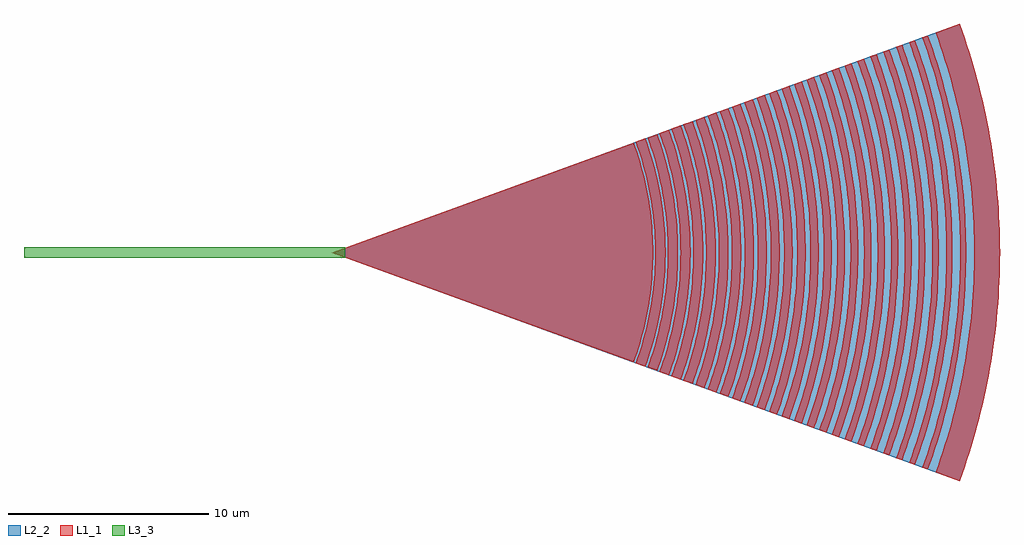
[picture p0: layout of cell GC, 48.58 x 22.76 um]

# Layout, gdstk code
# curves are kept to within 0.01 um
import gdstk
lib = gdstk.Library(unit=1e-6, precision=1e-09)
def R(c, l, rs):  # rectangles x0, y0, x1, y1
    for r in rs: c.add(gdstk.rectangle(r[:2], r[2:], *l))
def P(c, l, *ps):  # polygons
    for p in ps: c.add(gdstk.Polygon(p, *l))
L1_1 = (1, 1)
L2_2 = (2, 2)
L3_3 = (3, 3)

c_gc = lib.new_cell('GC')
P(c_gc, L1_1, [(3.313,0),(18.348,-5.472),(18.592,-4.751),(18.735,-4.264),(18.92,-3.525),(19.024,-3.028),(19.15,-2.277),(19.215,-1.773),(19.281,-1.015),(19.311,-0.254),(19.305,0.508),(19.281,1.015),(19.215,1.773),(19.112,2.528),(19.024,3.028),(18.92,3.525),(18.735,4.264),(18.592,4.751),(18.348,5.472)],
  [(18.929,-5.684),(19.177,-4.951),(19.323,-4.457),(19.513,-3.707),(19.668,-2.949),(19.787,-2.185),(19.871,-1.416),(19.907,-0.902),(19.931,-0.129),(19.927,0.387),(19.891,1.159),(19.819,1.929),(19.712,2.695),(19.568,3.455),(19.39,4.208),(19.177,4.951),(18.929,5.684),(18.446,5.508),(18.691,4.782),(18.835,4.291),(19.021,3.548),(19.172,2.796),(19.253,2.292),(19.344,1.531),(19.399,0.766),(19.417,0),(19.399,-0.766),(19.344,-1.531),(19.253,-2.292),(19.172,-2.796),(19.021,-3.548),(18.835,-4.291),(18.691,-4.782),(18.446,-5.508)],
  [(19.513,-5.896),(19.764,-5.153),(19.982,-4.399),(20.165,-3.635),(20.313,-2.865),(20.426,-2.088),(20.503,-1.307),(20.545,-0.523),(20.552,0),(20.545,0.523),(20.503,1.307),(20.426,2.088),(20.313,2.865),(20.165,3.635),(19.982,4.399),(19.764,5.153),(19.513,5.896),(19.037,5.723),(19.287,4.985),(19.501,4.237),(19.625,3.733),(19.781,2.97),(19.901,2.2),(19.986,1.426),(20.034,0.649),(20.046,0.13),(20.034,-0.649),(19.986,-1.426),(19.901,-2.2),(19.781,-2.97),(19.625,-3.733),(19.501,-4.237),(19.287,-4.985),(19.037,-5.723)],
  [(20.099,-6.109),(20.273,-5.608),(20.506,-4.847),(20.704,-4.076),(20.869,-3.298),(20.998,-2.512),(21.093,-1.722),(21.152,-0.928),(21.175,-0.133),(21.163,0.663),(21.116,1.458),(21.034,2.249),(20.916,3.036),(20.763,3.818),(20.576,4.591),(20.354,5.356),(20.099,6.109),(19.631,5.939),(19.885,5.19),(20.104,4.431),(20.288,3.662),(20.437,2.886),(20.551,2.103),(20.628,1.316),(20.67,0.527),(20.678,0),(20.67,-0.527),(20.628,-1.316),(20.551,-2.103),(20.437,-2.886),(20.288,-3.662),(20.104,-4.431),(19.885,-5.19),(19.631,-5.939)],
  [(20.687,-6.323),(20.951,-5.543),(21.181,-4.752),(21.374,-3.951),(21.533,-3.143),(21.618,-2.6),(21.716,-1.782),(21.777,-0.961),(21.801,-0.137),(21.789,0.686),(21.74,1.509),(21.654,2.328),(21.533,3.143),(21.374,3.951),(21.181,4.752),(20.951,5.543),(20.687,6.323),(20.227,6.156),(20.403,5.651),(20.638,4.884),(20.838,4.108),(21.004,3.323),(21.134,2.532),(21.229,1.735),(21.289,0.935),(21.312,0.134),(21.301,-0.668),(21.253,-1.469),(21.17,-2.267),(21.051,-3.06),(20.897,-3.847),(20.708,-4.626),(20.485,-5.397),(20.227,-6.156)],
  [(21.277,-6.538),(21.545,-5.749),(21.779,-4.948),(21.977,-4.138),(22.14,-3.32),(22.266,-2.495),(22.357,-1.666),(22.412,-0.834),(22.43,0),(22.412,0.834),(22.357,1.666),(22.266,2.495),(22.14,3.32),(21.977,4.138),(21.779,4.948),(21.545,5.749),(21.277,6.538),(20.826,6.374),(21.088,5.604),(21.315,4.824),(21.508,4.034),(21.667,3.236),(21.791,2.433),(21.879,1.624),(21.932,0.813),(21.95,0),(21.932,-0.813),(21.879,-1.624),(21.791,-2.433),(21.667,-3.236),(21.508,-4.034),(21.315,-4.824),(21.088,-5.604),(20.826,-6.374)],
  [(21.87,-6.754),(22.142,-5.955),(22.379,-5.145),(22.581,-4.326),(22.749,-3.498),(22.88,-2.665),(22.976,-1.826),(23.036,-0.984),(23.06,-0.141),(23.048,0.703),(23,1.546),(22.916,2.386),(22.749,3.498),(22.581,4.326),(22.379,5.145),(22.142,5.955),(21.87,6.754),(21.428,6.593),(21.698,5.797),(21.933,4.989),(22.133,4.172),(22.297,3.347),(22.425,2.516),(22.517,1.68),(22.572,0.841),(22.59,0),(22.572,-0.841),(22.517,-1.68),(22.425,-2.516),(22.297,-3.347),(22.133,-4.172),(21.933,-4.989),(21.698,-5.797),(21.428,-6.593)],
  [(22.465,-6.971),(22.74,-6.163),(22.981,-5.344),(23.188,-4.515),(23.36,-3.679),(23.534,-2.554),(23.623,-1.705),(23.677,-0.853),(23.694,0),(23.677,0.853),(23.623,1.705),(23.534,2.554),(23.36,3.679),(23.188,4.515),(22.981,5.344),(22.74,6.163),(22.465,6.971),(22.031,6.813),(22.305,6.007),(22.545,5.19),(22.749,4.363),(22.918,3.529),(23.05,2.688),(23.147,1.842),(23.208,0.993),(23.232,0.142),(23.208,-0.993),(23.147,-1.842),(23.05,-2.688),(22.918,-3.529),(22.749,-4.363),(22.545,-5.19),(22.305,-6.007),(22.031,-6.813)],
  [(23.063,-7.188),(23.342,-6.371),(23.586,-5.544),(23.797,-4.707),(24.024,-3.579),(24.153,-2.725),(24.247,-1.868),(24.306,-1.007),(24.33,-0.144),(24.318,0.719),(24.271,1.581),(24.153,2.725),(24.024,3.579),(23.797,4.707),(23.586,5.544),(23.342,6.371),(23.063,7.188),(22.638,7.034),(23,5.944),(23.232,5.114),(23.429,4.276),(23.59,3.43),(23.716,2.577),(23.806,1.721),(23.86,0.861),(23.878,0),(23.86,-0.861),(23.806,-1.721),(23.716,-2.577),(23.59,-3.43),(23.429,-4.276),(23.232,-5.114),(23,-5.944),(22.638,-7.034)],
  [(23.663,-7.407),(23.95,-6.565),(24.202,-5.712),(24.419,-4.85),(24.601,-3.979),(24.746,-3.102),(24.884,-1.924),(24.944,-1.037),(24.969,-0.148),(24.957,0.741),(24.884,1.924),(24.786,2.808),(24.653,3.688),(24.484,4.561),(24.279,5.426),(24.038,6.282),(23.663,7.407),(23.247,7.255),(23.528,6.431),(23.775,5.595),(23.987,4.751),(24.165,3.898),(24.347,2.751),(24.442,1.885),(24.502,1.016),(24.525,0.145),(24.514,-0.726),(24.466,-1.596),(24.383,-2.463),(24.216,-3.612),(23.987,-4.751),(23.775,-5.595),(23.528,-6.431),(23.247,-7.255)],
  [(24.266,-7.626),(24.556,-6.776),(24.812,-5.916),(25.033,-5.045),(25.272,-3.872),(25.41,-2.985),(25.512,-2.092),(25.579,-1.197),(25.611,0),(25.579,1.197),(25.512,2.092),(25.41,2.985),(25.272,3.872),(25.033,5.045),(24.812,5.916),(24.556,6.776),(24.266,7.626),(23.858,7.478),(24.143,6.644),(24.469,5.517),(24.674,4.661),(24.845,3.797),(24.98,2.927),(25.106,1.759),(25.159,0.88),(25.177,0),(25.159,-0.88),(25.106,-1.759),(24.98,-2.927),(24.845,-3.797),(24.674,-4.661),(24.469,-5.517),(24.143,-6.644),(23.858,-7.478)],
  [(24.871,-7.847),(25.165,-6.989),(25.424,-6.12),(25.648,-5.242),(25.893,-4.058),(26.076,-2.863),(26.171,-1.962),(26.231,-1.057),(26.254,-0.151),(26.243,0.755),(26.195,1.661),(26.076,2.863),(25.945,3.76),(25.715,4.947),(25.502,5.828),(25.165,6.989),(24.871,7.847),(24.473,7.701),(24.766,6.843),(25.024,5.974),(25.247,5.095),(25.488,3.91),(25.628,3.014),(25.758,1.812),(25.812,0.907),(25.831,0),(25.812,-0.907),(25.758,-1.812),(25.628,-3.014),(25.488,-3.91),(25.247,-5.095),(25.024,-5.974),(24.766,-6.843),(24.473,-7.701)],
  [(25.479,-8.068),(25.867,-6.911),(26.118,-6.032),(26.399,-4.845),(26.57,-3.946),(26.705,-3.041),(26.831,-1.828),(26.884,-0.915),(26.902,0),(26.884,0.915),(26.831,1.828),(26.705,3.041),(26.57,3.946),(26.399,4.845),(26.118,6.032),(25.867,6.911),(25.479,8.068),(25.09,7.926),(25.477,6.768),(25.727,5.887),(25.942,4.997),(26.122,4.099),(26.266,3.195),(26.374,2.286),(26.446,1.373),(26.487,0.153),(26.475,-0.763),(26.402,-1.982),(26.266,-3.195),(26.122,-4.099),(25.942,-4.997),(25.727,-5.887),(25.477,-6.768),(25.09,-7.926)],
  [(26.09,-8.29),(26.488,-7.102),(26.746,-6.198),(26.969,-5.284),(27.156,-4.363),(27.307,-3.435),(27.452,-2.191),(27.519,-1.253),(27.552,0),(27.519,1.253),(27.452,2.191),(27.307,3.435),(27.156,4.363),(26.969,5.284),(26.746,6.198),(26.488,7.102),(26.09,8.29),(25.709,8.152),(26.101,6.983),(26.354,6.094),(26.639,4.895),(26.811,3.987),(26.948,3.073),(27.075,1.847),(27.129,0.924),(27.147,0),(27.129,-0.924),(27.075,-1.847),(26.948,-3.073),(26.811,-3.987),(26.639,-4.895),(26.354,-6.094),(26.101,-6.983),(25.709,-8.152)],
  [(26.703,-8.513),(27.105,-7.315),(27.366,-6.404),(27.593,-5.484),(27.84,-4.244),(27.983,-3.308),(28.091,-2.366),(28.164,-1.421),(28.204,-0.158),(28.18,1.105),(28.119,2.051),(28.023,2.994),(27.84,4.244),(27.593,5.484),(27.366,6.404),(27.105,7.315),(26.703,8.513),(26.332,8.378),(26.634,7.496),(26.984,6.302),(27.274,5.093),(27.45,4.177),(27.592,3.255),(27.726,2.019),(27.785,1.088),(27.809,0.155),(27.797,-0.777),(27.726,-2.019),(27.592,-3.255),(27.45,-4.177),(27.274,-5.093),(26.984,-6.302),(26.634,-7.496),(26.332,-8.378)],
  [(27.319,-8.737),(27.725,-7.53),(27.989,-6.612),(28.288,-5.374),(28.471,-4.436),(28.62,-3.492),(28.762,-2.227),(28.842,-0.955),(28.86,0),(28.842,0.955),(28.762,2.227),(28.62,3.492),(28.471,4.436),(28.288,5.374),(27.989,6.612),(27.725,7.53),(27.319,8.737),(26.957,8.606),(27.268,7.699),(27.627,6.474),(27.925,5.231),(28.106,4.291),(28.251,3.344),(28.361,2.392),(28.45,1.117),(28.474,0.16),(28.45,-1.117),(28.389,-2.074),(28.292,-3.027),(28.106,-4.291),(27.925,-5.231),(27.627,-6.474),(27.268,-7.699),(26.957,-8.606)],
  [(27.938,-8.963),(28.347,-7.746),(28.615,-6.821),(28.848,-5.887),(29.106,-4.629),(29.258,-3.679),(29.407,-2.404),(29.494,-1.123),(29.517,-0.16),(29.506,0.802),(29.435,2.084),(29.301,3.361),(29.106,4.629),(28.848,5.887),(28.615,6.821),(28.347,7.746),(27.938,8.963),(27.585,8.834),(27.899,7.921),(28.263,6.685),(28.565,5.433),(28.751,4.485),(28.942,3.212),(29.045,2.251),(29.111,1.288),(29.143,0),(29.111,-1.288),(29.045,-2.251),(28.942,-3.212),(28.751,-4.485),(28.565,-5.433),(28.263,-6.685),(27.899,-7.921),(27.585,-8.834)],
  [(28.559,-9.189),(28.979,-7.941),(29.253,-6.993),(29.492,-6.036),(29.757,-4.746),(29.913,-3.772),(30.066,-2.464),(30.138,-1.48),(30.179,-0.165),(30.154,1.151),(30.066,2.464),(29.913,3.772),(29.757,4.746),(29.492,6.036),(29.253,6.993),(28.979,7.941),(28.559,9.189),(28.216,9.064),(28.63,7.834),(28.901,6.898),(29.137,5.954),(29.398,4.682),(29.596,3.399),(29.703,2.431),(29.79,1.136),(29.814,0.162),(29.802,-0.811),(29.731,-2.108),(29.596,-3.399),(29.398,-4.682),(29.137,-5.954),(28.901,-6.898),(28.63,-7.834),(28.216,-9.064)],
  [(29.183,-9.416),(29.506,-8.476),(29.884,-7.205),(30.2,-5.918),(30.396,-4.944),(30.602,-3.634),(30.746,-2.317),(30.825,-0.994),(30.843,0),(30.825,0.994),(30.746,2.317),(30.602,3.634),(30.396,4.944),(30.2,5.918),(29.884,7.205),(29.506,8.476),(29.183,9.416),(28.85,9.295),(29.268,8.055),(29.626,6.796),(29.854,5.842),(30.104,4.558),(30.251,3.588),(30.393,2.287),(30.458,1.308),(30.489,0),(30.458,-1.308),(30.393,-2.287),(30.251,-3.588),(30.104,-4.558),(29.854,-5.842),(29.626,-6.796),(29.268,-8.055),(28.85,-9.295)],
  [(29.81,-9.644),(30.136,-8.698),(30.517,-7.419),(30.838,-6.123),(31.038,-5.143),(31.25,-3.825),(31.4,-2.499),(31.471,-1.501),(31.51,-0.167),(31.486,1.167),(31.4,2.499),(31.25,3.825),(31.097,4.814),(30.838,6.123),(30.517,7.419),(30.136,8.698),(29.81,9.644),(29.487,9.527),(29.814,8.575),(30.196,7.29),(30.442,6.315),(30.714,5.002),(30.877,4.009),(31.038,2.678),(31.135,1.341),(31.167,0),(31.135,-1.341),(31.038,-2.678),(30.877,-4.009),(30.714,-5.002),(30.442,-6.315),(30.196,-7.29),(29.814,-8.575),(29.487,-9.527)],
  [(30.44,-9.873),(30.877,-8.579),(31.164,-7.595),(31.416,-6.602),(31.697,-5.265),(31.866,-4.254),(32.035,-2.899),(32.14,-1.536),(32.18,-0.171),(32.168,0.854),(32.096,2.218),(31.958,3.577),(31.757,4.929),(31.492,6.269),(31.252,7.265),(30.877,8.579),(30.44,9.873),(30.127,9.759),(30.457,8.802),(30.843,7.508),(31.167,6.197),(31.429,4.872),(31.628,3.536),(31.736,2.529),(31.824,1.181),(31.847,0.169),(31.824,-1.181),(31.764,-2.193),(31.628,-3.536),(31.429,-4.872),(31.167,-6.197),(30.843,-7.508),(30.457,-8.802),(30.127,-9.759)],
  [(31.073,-10.104),(31.513,-8.801),(31.892,-7.48),(32.209,-6.142),(32.405,-5.13),(32.613,-3.771),(32.726,-2.746),(32.822,-1.374),(32.854,0),(32.822,1.374),(32.726,2.746),(32.613,3.771),(32.405,5.13),(32.209,6.142),(31.892,7.48),(31.513,8.801),(31.073,10.104),(30.77,9.994),(31.102,9.029),(31.492,7.727),(31.821,6.407),(32.088,5.074),(32.248,4.067),(32.406,2.716),(32.501,1.359),(32.532,0),(32.501,-1.359),(32.406,-2.716),(32.248,-4.067),(32.088,-5.074),(31.821,-6.407),(31.492,-7.727),(31.102,-9.029),(30.77,-9.994)],
  [(31.708,-10.335),(32.152,-9.025),(32.534,-7.696),(32.856,-6.35),(33.057,-5.332),(33.269,-3.966),(33.42,-2.591),(33.507,-1.21),(33.53,-0.173),(33.507,1.21),(33.42,2.591),(33.313,3.623),(33.116,4.992),(32.856,6.35),(32.534,7.696),(32.152,9.025),(31.708,10.335),(31.416,10.229),(31.862,8.91),(32.155,7.908),(32.331,7.235),(32.637,5.877),(32.824,4.85),(32.929,4.162),(33.056,3.126),(33.147,2.086),(33.202,1.044),(33.22,0),(33.202,-1.044),(33.147,-2.086),(33.056,-3.126),(32.929,-4.162),(32.824,-4.85),(32.637,-5.877),(32.331,-7.235),(32.155,-7.908),(31.862,-8.91),(31.416,-10.229)],
  [(32.347,-10.568),(32.8,-9.228),(33.192,-7.869),(33.521,-6.493),(33.726,-5.452),(33.943,-4.055),(34.097,-2.649),(34.17,-1.591),(34.21,-0.177),(34.186,1.237),(34.097,2.649),(33.943,4.055),(33.726,5.452),(33.521,6.493),(33.192,7.869),(32.8,9.228),(32.347,10.568),(32.065,10.465),(32.514,9.138),(32.902,7.792),(33.152,6.772),(33.299,6.087),(33.546,4.709),(33.69,3.668),(33.798,2.623),(33.87,1.575),(33.91,0.175),(33.898,-0.875),(33.85,-1.925),(33.766,-2.972),(33.598,-4.362),(33.367,-5.744),(33.152,-6.772),(32.989,-7.453),(32.617,-8.803),(32.408,-9.472),(32.065,-10.465)],
  [(32.989,-10.801),(33.445,-9.454),(33.84,-8.088),(34.174,-6.705),(34.444,-5.309),(34.652,-3.902),(34.765,-2.841),(34.861,-1.422),(34.894,0),(34.861,1.422),(34.765,2.841),(34.652,3.902),(34.444,5.309),(34.174,6.705),(33.84,8.088),(33.445,9.454),(32.989,10.801),(32.718,10.702),(33.063,9.703),(33.274,9.031),(33.65,7.673),(33.965,6.299),(34.099,5.607),(34.27,4.564),(34.445,3.166),(34.534,2.113),(34.587,1.057),(34.605,0),(34.587,-1.057),(34.534,-2.113),(34.445,-3.166),(34.27,-4.564),(34.16,-5.26),(33.965,-6.299),(33.65,-7.673),(33.274,-9.031),(33.063,-9.703),(32.718,-10.702)],
  [(33.634,-11.036),(34.093,-9.681),(34.492,-8.308),(34.751,-7.267),(35.042,-5.867),(35.271,-4.455),(35.437,-3.035),(35.54,-1.608),(35.579,-0.179),(35.556,1.251),(35.468,2.679),(35.318,4.101),(35.105,5.515),(34.829,6.918),(34.492,8.308),(34.093,9.681),(33.634,11.036),(33.374,10.941),(33.836,9.577),(34.044,8.887),(34.326,7.844),(34.495,7.143),(34.719,6.086),(34.961,4.666),(35.139,3.236),(35.23,2.16),(35.285,1.08),(35.303,0),(35.285,-1.08),(35.23,-2.16),(35.139,-3.236),(34.961,-4.666),(34.719,-6.086),(34.495,-7.143),(34.326,-7.844),(34.044,-8.887),(33.836,-9.577),(33.374,-10.941)],
  [(34.574,-11.378),(35.04,-10.003),(35.446,-8.61),(35.791,-7.2),(36.074,-5.777),(36.295,-4.342),(36.453,-2.899),(36.548,-1.451),(36.58,0),(36.548,1.451),(36.453,2.899),(36.295,4.342),(36.074,5.777),(35.791,7.2),(35.446,8.61),(35.04,10.003),(34.574,11.378),(33.634,11.036),(34.093,9.681),(34.492,8.308),(34.751,7.267),(35.042,5.867),(35.271,4.455),(35.437,3.035),(35.54,1.608),(35.579,0.179),(35.556,-1.251),(35.468,-2.679),(35.318,-4.101),(35.105,-5.515),(34.829,-6.918),(34.492,-8.308),(34.093,-9.681),(33.634,-11.036)])
P(c_gc, L2_2, [(3.313,0),(34.574,-11.378),(34.929,-10.349),(35.251,-9.309),(35.538,-8.259),(35.868,-6.846),(36.074,-5.777),(36.246,-4.702),(36.42,-3.261),(36.509,-2.176),(36.562,-1.088),(36.578,-0.363),(36.562,1.088),(36.509,2.176),(36.453,2.899),(36.341,3.982),(36.246,4.702),(36.074,5.777),(35.941,6.49),(35.711,7.554),(35.538,8.259),(35.147,9.657),(34.929,10.349),(34.574,11.378)])
R(c_gc, L3_3, [(-12,-0.25,4,0.25)])

lib.write_gds('GC.gds')
